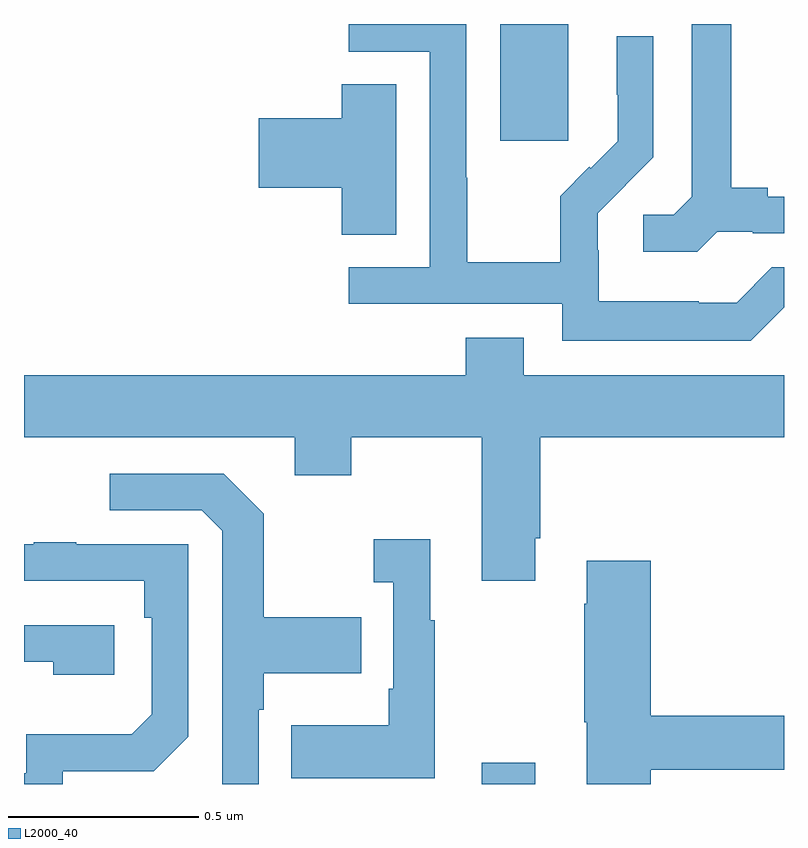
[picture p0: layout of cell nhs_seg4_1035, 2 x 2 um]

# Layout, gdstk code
import gdstk
lib = gdstk.Library(unit=1e-6, precision=1e-09)
def R(c, l, rs):  # rectangles x0, y0, x1, y1
    for r in rs: c.add(gdstk.rectangle(r[:2], r[2:], *l))
def P(c, l, *ps):  # polygons
    for p in ps: c.add(gdstk.Polygon(p, *l))
L2000_40 = (2000, 40)

nhs_seg4_1035 = lib.new_cell('nhs_seg4_1035')
R(nhs_seg4_1035, L2000_40, [(124.205,803.9,124.345,803.956), (124.253,805.593,124.432,805.9)])
P(nhs_seg4_1035, L2000_40, [(125,805.154),(125,805.26),(124.968,805.26),(124.875,805.167),(124.775,805.167),(124.775,805.171),(124.512,805.171),(124.512,805.305),(124.51,805.305),(124.51,805.402),(124.584,805.476),(124.583,805.477),(124.656,805.55),(124.656,805.868),(124.56,805.868),(124.56,805.714),(124.562,805.714),(124.562,805.592),(124.491,805.521),(124.488,805.524),(124.411,805.447),(124.411,805.273),(124.167,805.273),(124.167,805.496),(124.164,805.496),(124.164,805.9),(123.855,805.9),(123.855,805.827),(124.068,805.827),(124.068,805.26),(123.855,805.26),(123.855,805.164),(124.416,805.164),(124.416,805.067),(124.913,805.067)],
  [(124.824,805.353),(124.918,805.353),(124.918,805.35),(125,805.35),(125,805.446),(124.957,805.446),(124.957,805.469),(124.861,805.469),(124.861,805.9),(124.757,805.9),(124.757,805.445),(124.71,805.398),(124.629,805.398),(124.629,805.301),(124.772,805.301)],
  [(123.979,805.742),(123.836,805.742),(123.836,805.652),(123.618,805.652),(123.618,805.469),(123.836,805.469),(123.836,805.345),(123.979,805.345)],
  [(124.345,804.547),(124.358,804.547),(124.358,804.812),(125,804.812),(125,804.976),(124.315,804.976),(124.315,805.075),(124.163,805.075),(124.163,804.976),(123,804.976),(123,804.812),(123.713,804.812),(123.713,804.713),(123.861,804.713),(123.861,804.812),(124.205,804.812),(124.205,804.435),(124.345,804.435)],
  [(123.618,804.095),(123.631,804.095),(123.631,804.191),(123.887,804.191),(123.887,804.339),(123.631,804.339),(123.631,804.611),(123.525,804.717),(123.225,804.717),(123.225,804.621),(123.468,804.621),(123.522,804.567),(123.522,803.9),(123.618,803.9)],
  [(124.081,804.331),(124.069,804.331),(124.069,804.544),(123.921,804.544),(123.921,804.431),(123.972,804.431),(123.972,804.151),(123.96,804.151),(123.96,804.055),(123.703,804.055),(123.703,803.915),(124.081,803.915)],
  [(123.102,803.934),(123.342,803.934),(123.432,804.024),(123.432,804.531),(123.137,804.531),(123.137,804.536),(123.025,804.536),(123.025,804.531),(123,804.531),(123,804.435),(123.316,804.435),(123.316,804.338),(123.336,804.338),(123.336,804.084),(123.283,804.031),(123.006,804.031),(123.006,803.928),(123,803.928),(123,803.9),(123.102,803.9)],
  [(124.649,803.938),(125,803.938),(125,804.08),(124.649,804.08),(124.649,804.487),(124.481,804.487),(124.481,804.374),(124.474,804.374),(124.474,804.063),(124.481,804.063),(124.481,803.9),(124.649,803.9)],
  [(123.238,804.318),(123,804.318),(123,804.222),(123.077,804.222),(123.077,804.188),(123.238,804.188)])

lib.write_gds('nhs_seg4_1035.gds')
